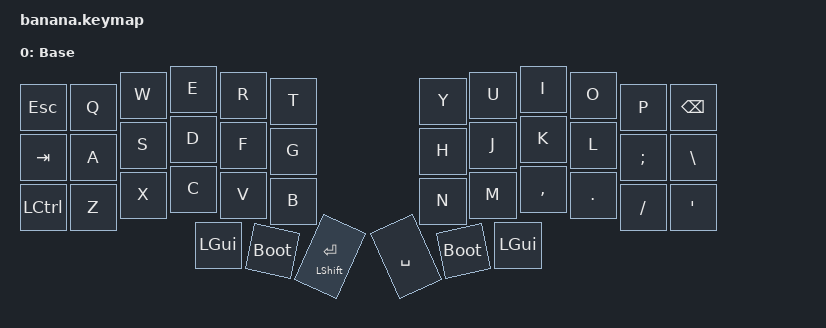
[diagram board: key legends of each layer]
#include <behaviors.dtsi>
#include <dt-bindings/zmk/keys.h>
#include <dt-bindings/zmk/ext_power.h>

/ {
    keymap {
        compatible = "zmk,keymap";

        default_layer {
            display-name = "Base";
            bindings = <
                &kp ESC   &kp Q &kp W       &kp E       &kp R               &kp T       &kp Y           &kp U       &kp I     &kp O   &kp P       &kp BSPC
                &kp TAB   &kp A &kp S       &kp D       &kp F               &kp G       &kp H           &kp J       &kp K     &kp L   &kp SEMI    &kp BSLH
                &kp LCTRL &kp Z &kp X       &kp C       &kp V               &kp B       &kp N           &kp M       &kp COMMA &kp DOT &kp FSLH    &kp SQT
                                &kp LGUI    &bootloader &mt LSHIFT ENTER    &kp SPACE   &bootloader     &kp LGUI
            >;
        };
    };
};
